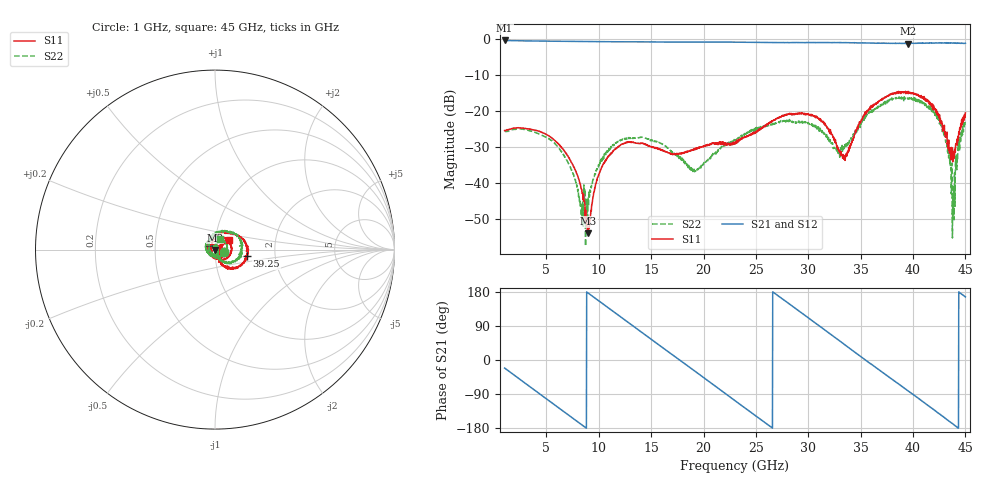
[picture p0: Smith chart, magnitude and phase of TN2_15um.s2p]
!Keysight Technologies,N5247B,MY61255062,A.19.80.06
!Date: Thursday, May 21, 2026 11:30:45
!Correction: S11(Cdelta 2-Port  )
!S21(Cdelta 2-Port  )
!S12(Cdelta 2-Port  )
!S22(Cdelta 2-Port  )
!S2P File: Measurements: S11, S21, S12, S22:
# Hz S  dB  R 50
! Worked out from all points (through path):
!   1601 points, 1 GHz to 45 GHz, reference 50 ohm
!   highest |S21| = -0.49 dB at 1 GHz (marker M1); lowest = -1.4 dB at 39.53 GHz (marker M2)
!   group delay of S21, straight-line fit = 56.3 ps
!   lowest |S11| = -53.8 dB at 9.002 GHz (marker M3), VSWR 1.00, Z = 50 - j0.201 ohm
!   |S11| at or under -10 dB: start of sweep to end of sweep
!   |S22| runs from -57.4 to -16.0 dB; largest |S21 - S12| = 0.014
!   S11 on the Smith chart (normalised r, x): 1 GHz: 1.11, -0.03; 39.25 GHz: 1.43, -0.10; 45 GHz: 1.16, +0.13
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1e9  -25.40 -12.1  -0.49 -21.2  -0.49 -21.2  -25.58 -12.6
4.575e9  -25.93 -91.8  -0.67 -94.0  -0.67 -94.0  -26.79 -90.3
6.9675e9  -32.20 -145.0  -0.73 -142.6  -0.73 -142.6  -33.80 -142.7
8.3425e9  -41.55 -162.9  -0.78 -170.5  -0.78 -170.6  -48.53 -160.4
9.0025e9  -53.80 -99.7  -0.79 176.1  -0.79 176.1  -46.40 -33.8
9.91e9  -38.33 -45.6  -0.81 157.8  -0.81 157.7  -35.53 -39.2
1.1285e10  -31.52 -73.7  -0.85 129.9  -0.85 129.9  -29.80 -69.1
1.34575e10  -28.83 -132.9  -0.86 86.0  -0.86 86.0  -27.39 -123.7
1.5685e10  -30.36 161.0  -0.92 40.7  -0.92 40.7  -28.65 -179.9
1.893e10  -30.86 15.4  -0.95 -24.6  -0.96 -24.6  -35.92 45.0
2.3e10  -28.71 -136.9  -0.97 -107.4  -0.97 -107.4  -28.01 -136.9
2.663e10  -22.69 76.9  -1.07 179.3  -1.06 179.2  -23.45 100.8
3.03425e10  -21.29 -23.4  -1.05 104.1  -1.07 104.4  -23.52 -9.9
3.345e10  -32.54 179.7  -1.10 40.9  -1.09 40.9  -30.16 -179.6
3.554e10  -20.17 70.2  -1.20 -1.5  -1.21 -1.7  -21.04 95.9
3.7685e10  -15.66 21.0  -1.27 -44.8  -1.22 -44.9  -17.01 40.5
3.92525e10  -14.84 -11.3  -1.32 -76.1  -1.29 -75.7  -16.48 6.4
3.95275e10  -14.56 -15.8  -1.36 -81.5  -1.37 -81.4  -16.71 2.7
4.24425e10  -21.30 -67.5  -1.21 -140.6  -1.22 -141.1  -22.51 -60.2
4.32675e10  -29.16 -57.2  -1.23 -157.8  -1.21 -158.0  -29.51 -72.4
4.38175e10  -31.83 -15.5  -1.18 -169.1  -1.19 -169.0  -48.40 -129.4
4.5e10  -20.52 35.5  -1.26 166.5  -1.29 166.3  -23.65 62.2
